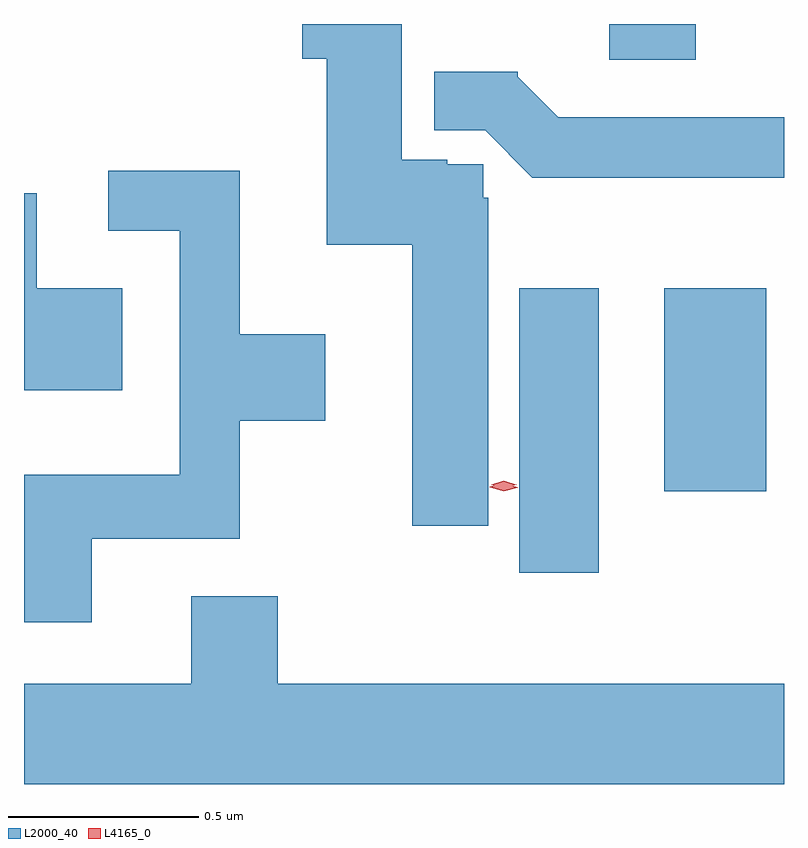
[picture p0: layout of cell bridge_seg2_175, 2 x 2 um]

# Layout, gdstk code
import gdstk
lib = gdstk.Library(unit=1e-6, precision=1e-09)
def R(c, l, rs):  # rectangles x0, y0, x1, y1
    for r in rs: c.add(gdstk.rectangle(r[:2], r[2:], *l))
def P(c, l, *ps):  # polygons
    for p in ps: c.add(gdstk.Polygon(p, *l))
L2000_40 = (2000, 40)
L4165_0 = (4165, 0)

bridge_seg2_175 = lib.new_cell('bridge_seg2_175')
R(bridge_seg2_175, L2000_40, [(817.274,1073.296,817.484,1074.044), (817.656,1073.511,817.924,1074.044), (817.511,1074.646,817.739,1074.74)])
P(bridge_seg2_175, L2000_40, [(817.193,1074.283),(817.18,1074.283),(817.18,1074.371),(817.085,1074.371),(817.085,1074.383),(816.965,1074.383),(816.965,1074.74),(816.703,1074.74),(816.703,1074.649),(816.768,1074.649),(816.768,1074.159),(816.993,1074.159),(816.993,1073.419),(817.193,1073.419)],
  [(817.971,1074.494),(817.377,1074.494),(817.27,1074.601),(817.27,1074.614),(817.05,1074.614),(817.05,1074.46),(817.185,1074.46),(817.309,1074.336),(817.971,1074.336)],
  [(816.149,1073.386),(816.539,1073.386),(816.539,1073.696),(816.764,1073.696),(816.764,1073.924),(816.539,1073.924),(816.539,1074.354),(816.193,1074.354),(816.193,1074.196),(816.381,1074.196),(816.381,1073.554),(815.971,1073.554),(815.971,1073.166),(816.149,1073.166)],
  [(816.229,1074.044),(816.004,1074.044),(816.004,1074.294),(815.971,1074.294),(815.971,1073.776),(816.229,1073.776)],
  [(817.971,1073.004),(816.639,1073.004),(816.639,1073.234),(816.411,1073.234),(816.411,1073.004),(815.971,1073.004),(815.971,1072.74),(817.971,1072.74)])
P(bridge_seg2_175, L4165_0, [(817.233,1073.511),(817.197,1073.521),(817.197,1073.522),(817.197,1073.522),(817.234,1073.531),(817.269,1073.521),(817.27,1073.52),(817.269,1073.52)],
  [(817.234,1073.518),(817.2,1073.527),(817.199,1073.528),(817.2,1073.528),(817.234,1073.538),(817.267,1073.528),(817.268,1073.528),(817.267,1073.527)])

lib.write_gds('bridge_seg2_175.gds')
